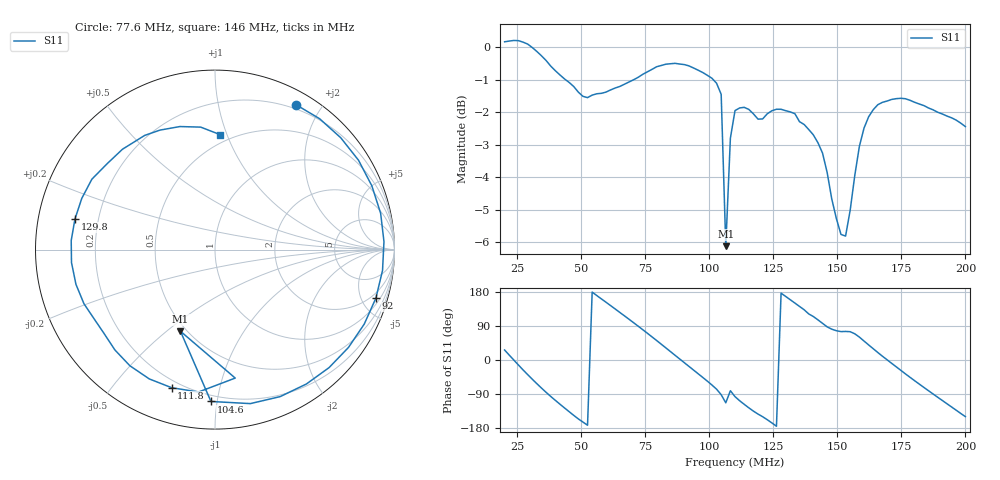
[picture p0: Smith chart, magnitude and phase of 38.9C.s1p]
# HZ S RI R 50
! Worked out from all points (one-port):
!   101 points, 20 MHz to 200 MHz, reference 50 ohm
!   lowest |S11| = -6.1 dB at 106.4 MHz (marker M1), VSWR 2.95, Z = 23.2 - j27.9 ohm
!   |S11| at or under -10 dB: nowhere
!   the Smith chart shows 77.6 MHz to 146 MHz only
!   S11 on the Smith chart (normalised r, x): 77.6 MHz: 0.15, +1.69; 92 MHz: 1.47, -6.45; 104.6 MHz: 0.16, -0.96; 111.8 MHz: 0.16, -0.72; 129.8 MHz: 0.11, +0.11; 146 MHz: 0.43, +0.95
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2e7  0.9138 0.4529
2.54e7  0.9969 -0.2338
3.26e7  0.4547 -0.8741
3.8e7  -0.0987 -0.9305
4.34e7  -0.532 -0.7185
5.42e7  -0.8439 0.0119
6.5e7  -0.5059 0.7083
7.22e7  0.0134 0.8991
7.76e7  0.45 0.8081
8.84e7  0.9414 0.0442
9.2e7  0.8964 -0.2705
9.92e7  0.5091 -0.7488
1.046e8  -0.0226 -0.8461
1.064e8  -0.1925 -0.4549
1.082e8  0.1127 -0.7158
1.1e8  -0.0921 -0.7936
1.118e8  -0.2418 -0.7694
1.226e8  -0.73 -0.3017
1.298e8  -0.7803 0.1703
1.334e8  -0.6859 0.3924
1.388e8  -0.3915 0.6363
1.46e8  0.0282 0.6407
1.55e8  0.1484 0.5413
1.604e8  0.4825 0.5753
1.676e8  0.8103 0.1423
1.784e8  0.5776 -0.5941
1.892e8  -0.116 -0.7857
2e8  -0.6502 -0.3834
